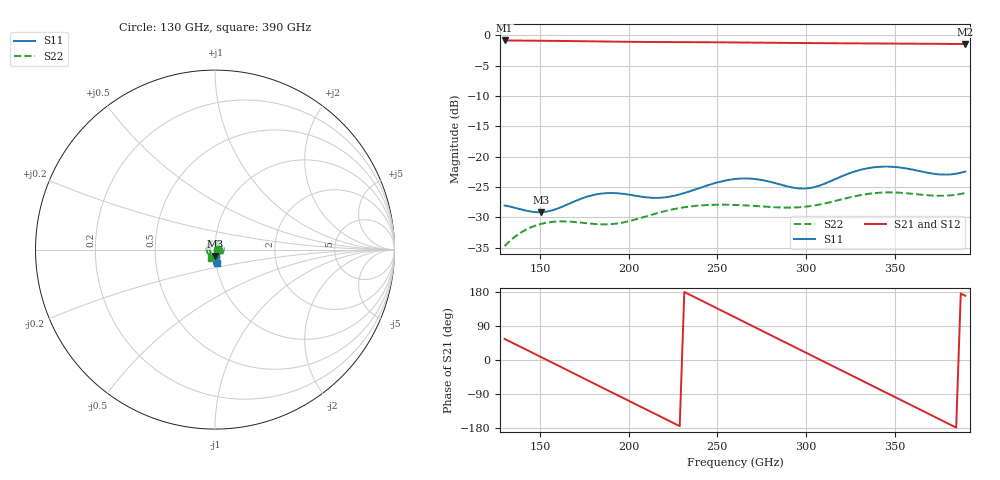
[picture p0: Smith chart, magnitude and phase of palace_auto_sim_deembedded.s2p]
! Created with skrf 1.11.0 (http://scikit-rf.org).
# GHz S DB R 50.0
!freq dBS11 angS11 dBS21 angS21 dBS12 angS12 dBS22 angS22
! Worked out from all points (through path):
!   101 points, 130 GHz to 390 GHz, reference 50 ohm
!   highest |S21| = -0.88 dB at 130 GHz (marker M1); lowest = -1.5 dB at 390 GHz (marker M2)
!   group delay of S21, straight-line fit = 6.48 ps
!   lowest |S11| = -29.1 dB at 150.8 GHz (marker M3), VSWR 1.07, Z = 49.9 - j3.49 ohm
!   |S11| at or under -10 dB: start of sweep to end of sweep
!   |S22| runs from -34.7 to -25.9 dB; largest |S21 - S12| = 1e-13
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130  -28.02 -93.7  -0.88 55.7  -0.88 55.7  -34.72 -7.6
140.4  -28.75 -95.5  -0.90 31.5  -0.90 31.5  -32.27 -44.4
150.8  -29.13 -90.4  -0.93 7.2  -0.93 7.2  -31.03 -81.2
161.2  -28.38 -84.1  -0.96 -17.1  -0.96 -17.1  -30.65 -120.3
174.2  -26.80 -84.3  -1.00 -47.5  -1.00 -47.5  -30.88 -174.7
184.6  -26.07 -89.2  -1.04 -71.7  -1.04 -71.7  -31.13 136.5
195  -26.04 -94.0  -1.08 -95.9  -1.08 -95.9  -30.92 84.7
205.4  -26.49 -95.3  -1.11 -120.1  -1.11 -120.1  -30.20 33.1
218.4  -26.74 -90.5  -1.14 -150.3  -1.14 -150.3  -29.11 -28.4
228.8  -26.19 -85.7  -1.15 -174.5  -1.15 -174.5  -28.44 -75.6
239.2  -25.23 -83.8  -1.17 161.2  -1.17 161.2  -28.05 -122.1
260  -23.67 -90.0  -1.21 112.6  -1.21 112.6  -27.93 144.7
270.4  -23.64 -95.1  -1.23 88.4  -1.23 88.4  -28.09 96.9
280.8  -24.20 -98.1  -1.26 64.1  -1.26 64.1  -28.28 47.8
293.8  -25.14 -94.3  -1.29 33.8  -1.29 33.8  -28.35 -16.0
304.2  -25.05 -86.0  -1.31 9.6  -1.31 9.6  -28.05 -67.9
322.4  -22.97 -80.3  -1.35 -32.8  -1.35 -32.8  -26.86 -155.8
335.4  -21.87 -85.1  -1.37 -63.1  -1.37 -63.1  -26.11 145.1
348.4  -21.65 -91.4  -1.39 -93.4  -1.39 -93.4  -25.88 87.3
358.8  -22.04 -94.6  -1.41 -117.7  -1.41 -117.7  -26.06 39.9
371.8  -22.79 -92.9  -1.43 -148.0  -1.43 -148.0  -26.41 -22.8
390  -22.44 -83.1  -1.47 169.5  -1.47 169.5  -25.97 -114.3
